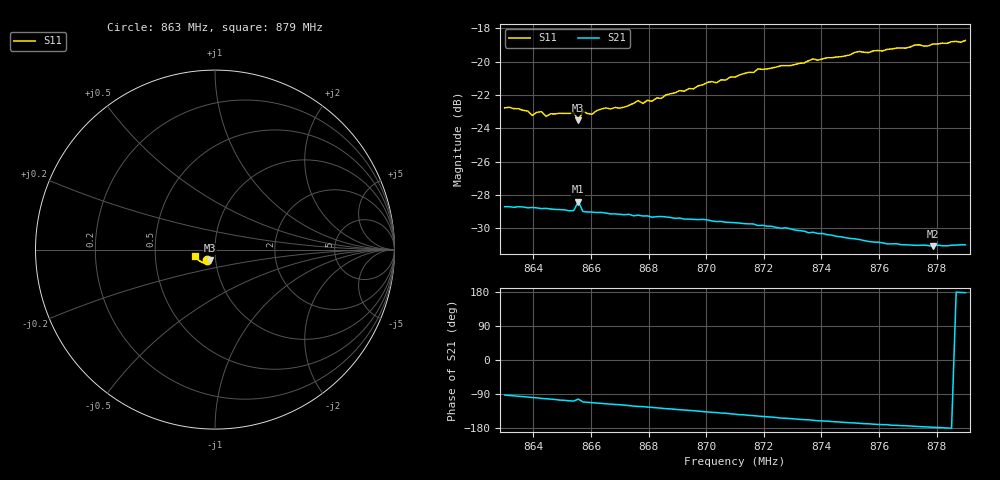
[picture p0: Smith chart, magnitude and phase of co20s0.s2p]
# HZ S RI R 50
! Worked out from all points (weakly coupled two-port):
!   101 points, 863 MHz to 879 MHz, reference 50 ohm
!   highest |S21| = -28.41 dB at 865.56 MHz (marker M1); lowest = -31.1 dB at 877.88 MHz (marker M2)
!   lowest |S11| = -23.5 dB at 865.56 MHz (marker M3), VSWR 1.14, Z = 47 - j5.72 ohm
!   |S11| at or under -10 dB: start of sweep to end of sweep
!   S12 and S22 are empty: the file has one direction only
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8.63e8  -0.0444 -0.0575  -0.00159 -0.0366  0 0  0 0
8.638e8  -0.0416 -0.0576  -0.00485 -0.0361  0 0  0 0
8.6396e8  -0.0404 -0.0558  -0.00577 -0.036  0 0  0 0
8.6428e8  -0.0405 -0.058  -0.00718 -0.0355  0 0  0 0
8.6444e8  -0.0395 -0.0559  -0.00763 -0.0355  0 0  0 0
8.654e8  -0.0382 -0.0588  -0.0112 -0.0339  0 0  0 0
8.6556e8  -0.0278 -0.0606  -0.00866 -0.037  0 0  0 0
8.6572e8  -0.0362 -0.061  -0.0125 -0.0332  0 0  0 0
8.6604e8  -0.0363 -0.0593  -0.0136 -0.0326  0 0  0 0
8.6652e8  -0.0371 -0.0624  -0.0152 -0.0317  0 0  0 0
8.67e8  -0.0367 -0.0625  -0.0163 -0.0307  0 0  0 0
8.6764e8  -0.0391 -0.0656  -0.0186 -0.0292  0 0  0 0
8.678e8  -0.0377 -0.0646  -0.0188 -0.0288  0 0  0 0
8.6844e8  -0.0389 -0.0671  -0.0207 -0.0273  0 0  0 0
8.7004e8  -0.0467 -0.0729  -0.0245 -0.0228  0 0  0 0
8.71e8  -0.0524 -0.0729  -0.0262 -0.0198  0 0  0 0
8.718e8  -0.0591 -0.0744  -0.0273 -0.0171  0 0  0 0
8.7292e8  -0.0647 -0.0725  -0.0284 -0.0135  0 0  0 0
8.7372e8  -0.0724 -0.0716  -0.0287 -0.0109  0 0  0 0
8.7644e8  -0.0925 -0.0577  -0.0281 -0.00388  0 0  0 0
8.7788e8  -0.1029 -0.0465  -0.0279 -0.00116  0 0  0 0
8.79e8  -0.1099 -0.0361  -0.0282 0.00115  0 0  0 0
